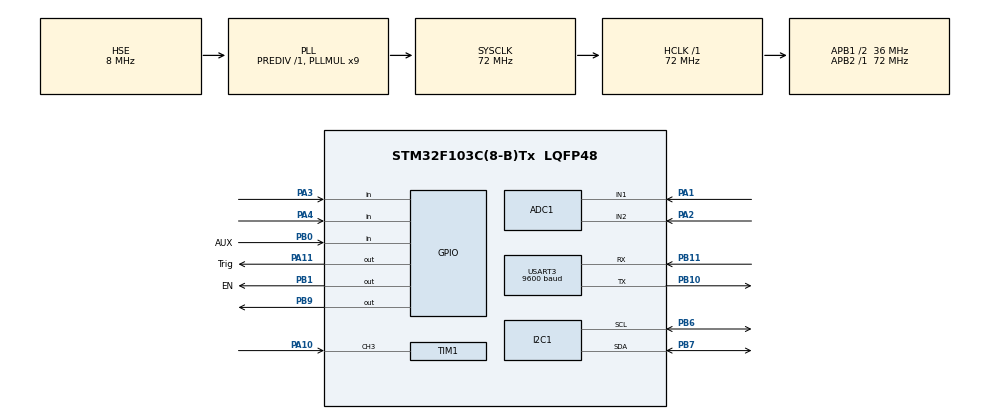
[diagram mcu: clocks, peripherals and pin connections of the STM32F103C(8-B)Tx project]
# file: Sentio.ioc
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ADC1.Channel-0\#ChannelRegularConversion=ADC_CHANNEL_1
ADC1.Channel-1\#ChannelRegularConversion=ADC_CHANNEL_2
ADC1.Channel-2\#ChannelRegularConversion=ADC_CHANNEL_VREFINT
ADC1.Channel-3\#ChannelRegularConversion=ADC_CHANNEL_TEMPSENSOR
ADC1.ContinuousConvMode=ENABLE
ADC1.NbrOfConversion=4
ADC1.NbrOfConversionFlag=1
ADC1.Rank-0\#ChannelRegularConversion=1
ADC1.Rank-1\#ChannelRegularConversion=2
ADC1.Rank-2\#ChannelRegularConversion=3
ADC1.Rank-3\#ChannelRegularConversion=4
ADC1.SamplingTime-0\#ChannelRegularConversion=ADC_SAMPLETIME_71CYCLES_5
ADC1.SamplingTime-1\#ChannelRegularConversion=ADC_SAMPLETIME_71CYCLES_5
ADC1.SamplingTime-2\#ChannelRegularConversion=ADC_SAMPLETIME_71CYCLES_5
ADC1.SamplingTime-3\#ChannelRegularConversion=ADC_SAMPLETIME_71CYCLES_5
ADC1.master=1
Dma.ADC1.0.Direction=DMA_PERIPH_TO_MEMORY
Dma.ADC1.0.Instance=DMA1_Channel1
Dma.ADC1.0.MemDataAlignment=DMA_MDATAALIGN_WORD
Dma.ADC1.0.MemInc=DMA_MINC_ENABLE
Dma.ADC1.0.Mode=DMA_CIRCULAR
Dma.ADC1.0.PeriphDataAlignment=DMA_PDATAALIGN_WORD
Dma.ADC1.0.PeriphInc=DMA_PINC_DISABLE
Dma.ADC1.0.Priority=DMA_PRIORITY_LOW
Dma.Request0=ADC1
Mcu.Family=STM32F1
Mcu.Name=STM32F103C(8-B)Tx
Mcu.Package=LQFP48
NVIC.DMA1_Channel1_IRQn=true\:0\:0\:false\:false\:true\:false\:true\:true
NVIC.PriorityGroup=NVIC_PRIORITYGROUP_4
NVIC.TIM1_CC_IRQn=true\:0\:0\:false\:false\:true\:true\:true\:true
PA1.Signal=ADCx_IN1
PA10.Signal=S_TIM1_CH3
PA11.GPIO_Label=Trig
PA11.Signal=GPIO_Output
PA13.Mode=Serial_Wire
PA13.Signal=SYS_JTMS-SWDIO
PA14.Mode=Serial_Wire
PA14.Signal=SYS_JTCK-SWCLK
PA2.Signal=ADCx_IN2
PA3.Signal=GPIO_Input
PA4.Signal=GPIO_Input
PB0.GPIO_Label=AUX
PB0.Signal=GPIO_Input
PB1.GPIO_Label=EN
PB1.Signal=GPIO_Output
PB10.Mode=Asynchronous
PB10.Signal=USART3_TX
PB11.Mode=Asynchronous
PB11.Signal=USART3_RX
PB6.Mode=I2C
PB6.Signal=I2C1_SCL
PB7.Mode=I2C
PB7.Signal=I2C1_SDA
PB9.Signal=GPIO_Output
PD0-OSC_IN.Mode=HSE-External-Oscillator
PD0-OSC_IN.Signal=RCC_OSC_IN
PD1-OSC_OUT.Mode=HSE-External-Oscillator
PD1-OSC_OUT.Signal=RCC_OSC_OUT
ProjectManager.HeapSize=0x200
ProjectManager.StackSize=0x400
ProjectManager.TargetToolchain=CMake
RCC.ADCPresc=RCC_ADCPCLK2_DIV6
RCC.AHBFreq_Value=72000000
RCC.APB1CLKDivider=RCC_HCLK_DIV2
RCC.APB1Freq_Value=36000000
RCC.APB1TimFreq_Value=72000000
RCC.APB2Freq_Value=72000000
RCC.APB2TimFreq_Value=72000000
RCC.HCLKFreq_Value=72000000
RCC.PLLMUL=RCC_PLL_MUL9
RCC.PLLSourceVirtual=RCC_PLLSOURCE_HSE
RCC.SYSCLKFreq_VALUE=72000000
RCC.SYSCLKSource=RCC_SYSCLKSOURCE_PLLCLK
RCC.USBFreq_Value=72000000
SH.ADCx_IN1.0=ADC1_IN1,IN1
SH.ADCx_IN2.0=ADC1_IN2,IN2
SH.S_TIM1_CH3.0=TIM1_CH3,Input_Capture3_from_TI3
TIM1.Channel-Input_Capture3_from_TI3=TIM_CHANNEL_3
TIM1.Channel-Input_Capture4_from_TI3_63=TIM_CHANNEL_4
TIM1.ICPolarity_CH4=TIM_INPUTCHANNELPOLARITY_FALLING
TIM1.Prescaler=72-1
USART3.BaudRate=9600
USART3.VirtualMode=VM_ASYNC
VP_ADC1_TempSens_Input.Mode=IN-TempSens
VP_ADC1_Vref_Input.Mode=IN-Vrefint
VP_TIM1_VS_ClockSourceINT.Mode=Internal
VP_TIM1_VS_indirect_ch3.Mode=Input_Capture4_from_TI3_63
board=custom

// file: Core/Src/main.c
/* USER CODE BEGIN Header */
/**
  ******************************************************************************
  * @file           : main.c
  * @brief          : Main program body
  ******************************************************************************
  * @attention
  *
  * Copyright (c) 2025 STMicroelectronics.
  * All rights reserved.
  *
  * This software is licensed under terms that can be found in the LICENSE file
  * in the root directory of this software component.
  * If no LICENSE file comes with this software, it is provided AS-IS.
  *
  ******************************************************************************
  */
/* USER CODE END Header */
#include "main.h"
#include "adc.h"
#include "dma.h"
#include "i2c.h"
#include "tim.h"
#include "usart.h"
#include "gpio.h"

/* USER CODE BEGIN Includes */
#include "hcsr04.h"
#include "aht20.h"
#include "MQ-4.h"
#include "MQ-136.h"
#include "buzzer.h"

#include "stdio.h"
#include "string.h"
#include "stdbool.h"
/* USER CODE END Includes */

/* USER CODE BEGIN PD */
#define DEVICE_ID 12345678u
#define TEMP_SCALE 100.0f
#define HUM_SCALE 100.0f
#define DIST_SCALE 100.0f
/* USER CODE END PD */

void SystemClock_Config(void);

/* USER CODE BEGIN 0 */

uint32_t values[4];

/* USER CODE END 0 */

int main(void)
{

  /* MCU Configuration--------------------------------------------------------*/

  /* Reset of all peripherals, Initializes the Flash interface and the Systick. */
  HAL_Init();

  /* Configure the system clock */
  SystemClock_Config();

  /* Initialize all configured peripherals */
  MX_GPIO_Init();
  MX_DMA_Init();
  MX_ADC1_Init();
  MX_I2C1_Init();
  MX_TIM1_Init();
  MX_USART3_UART_Init();
  /* USER CODE BEGIN 2 */
  AHT20_Init();
  HCSR04_Init(&htim1, TIM_CHANNEL_3, TIM_CHANNEL_4);

  HAL_ADCEx_Calibration_Start(&hadc1);
  HAL_ADC_Start_DMA(&hadc1,values,4);

  Buzzer_On(100);
  /* USER CODE END 2 */

  /* Infinite loop */
  /* USER CODE BEGIN WHILE */
  while (1)
  {

    HCSR04_GetDistance(&htim1);

    AHT20_Measure();

    float temperature = AHT20_Temperature();
    float humidity = AHT20_Humidity();

    float mq4_voltage = MQ4_ReadAO(values[0]);
    float mq4_ppm = MQ4_ReadPPM(mq4_voltage);

    float mq136_voltage = MQ136_ReadAO(values[1]);
    float mq136_ppm = MQ136_ReadPPM(mq136_voltage);

    uint16_t temperature_i = (uint16_t)(temperature * TEMP_SCALE);
    uint16_t humidity_i = (uint16_t)(humidity * HUM_SCALE);
    uint16_t distance_i = (uint16_t)(distance * DIST_SCALE);
    uint16_t mq4_i = (uint16_t)(mq4_ppm);
    uint16_t mq136_i = (uint16_t)(mq136_ppm);

    char packet[64];
    int len = snprintf(packet, sizeof(packet),
                       "%010lu   %05u   %05u   %05u   %05u   %05u   ",
                       (unsigned long)DEVICE_ID,
                       temperature_i, humidity_i, distance_i, mq4_i, mq136_i);

    HAL_UART_Transmit(&huart3, (uint8_t *)packet, len, 500);

    HAL_Delay(1000);
    /* USER CODE END WHILE */

  }
}

void SystemClock_Config(void)
{
  RCC_OscInitTypeDef RCC_OscInitStruct = {0};
  RCC_ClkInitTypeDef RCC_ClkInitStruct = {0};
  RCC_PeriphCLKInitTypeDef PeriphClkInit = {0};

  /** Initializes the RCC Oscillators according to the specified parameters
  * in the RCC_OscInitTypeDef structure.
  */
  RCC_OscInitStruct.OscillatorType = RCC_OSCILLATORTYPE_HSE;
  RCC_OscInitStruct.HSEState = RCC_HSE_ON;
  RCC_OscInitStruct.HSEPredivValue = RCC_HSE_PREDIV_DIV1;
  RCC_OscInitStruct.HSIState = RCC_HSI_ON;
  RCC_OscInitStruct.PLL.PLLState = RCC_PLL_ON;
  RCC_OscInitStruct.PLL.PLLSource = RCC_PLLSOURCE_HSE;
  RCC_OscInitStruct.PLL.PLLMUL = RCC_PLL_MUL9;
  if (HAL_RCC_OscConfig(&RCC_OscInitStruct) != HAL_OK)
  {
    Error_Handler();
  }

  /** Initializes the CPU, AHB and APB buses clocks
  */
  RCC_ClkInitStruct.ClockType = RCC_CLOCKTYPE_HCLK|RCC_CLOCKTYPE_SYSCLK
                              |RCC_CLOCKTYPE_PCLK1|RCC_CLOCKTYPE_PCLK2;
  RCC_ClkInitStruct.SYSCLKSource = RCC_SYSCLKSOURCE_PLLCLK;
  RCC_ClkInitStruct.AHBCLKDivider = RCC_SYSCLK_DIV1;
  RCC_ClkInitStruct.APB1CLKDivider = RCC_HCLK_DIV2;
  RCC_ClkInitStruct.APB2CLKDivider = RCC_HCLK_DIV1;

  if (HAL_RCC_ClockConfig(&RCC_ClkInitStruct, FLASH_LATENCY_2) != HAL_OK)
  {
    Error_Handler();
  }
  PeriphClkInit.PeriphClockSelection = RCC_PERIPHCLK_ADC;
  PeriphClkInit.AdcClockSelection = RCC_ADCPCLK2_DIV6;
  if (HAL_RCCEx_PeriphCLKConfig(&PeriphClkInit) != HAL_OK)
  {
    Error_Handler();
  }
}

void Error_Handler(void)
{
  /* USER CODE BEGIN Error_Handler_Debug */
  /* User can add his own implementation to report the HAL error return state */
  __disable_irq();
  while (1)
  {
    Buzzer_On(200);
    HAL_Delay(1000);
  }
  /* USER CODE END Error_Handler_Debug */
}
